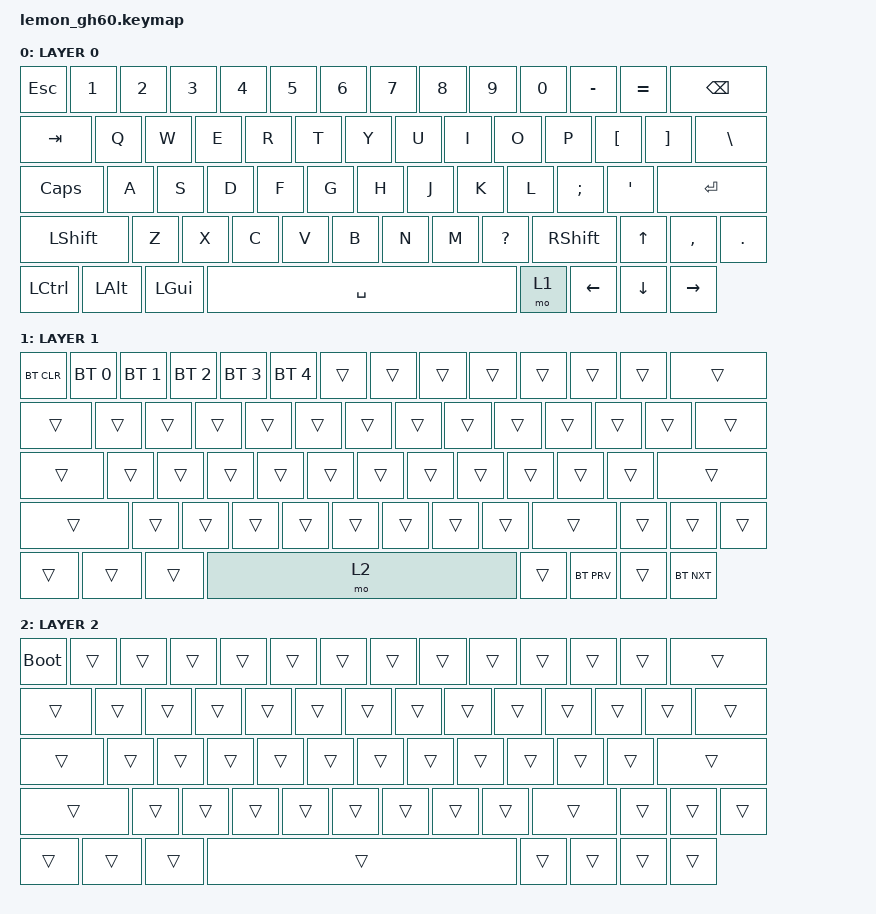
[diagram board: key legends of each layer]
/*
 * Copyright (c) 2020 The ZMK Contributors
 *
 * SPDX-License-Identifier: MIT
 */

#include <behaviors.dtsi>
#include <dt-bindings/zmk/bt.h>
#include <dt-bindings/zmk/keys.h>

/ {
    keymap {
        compatible = "zmk,keymap";

        LAYER0 {
            bindings = <
&kp ESC    &kp N1    &kp N2    &kp N3  &kp N4  &kp N5     &kp N6  &kp N7  &kp N8        &kp N9  &kp N0     &kp MINUS  &kp EQUAL  &kp BSPC
&kp TAB    &kp Q     &kp W     &kp E   &kp R   &kp T      &kp Y   &kp U   &kp I         &kp O   &kp P      &kp LBKT   &kp RBKT   &kp BSLH
&kp CAPS   &kp A     &kp S     &kp D   &kp F   &kp G      &kp H   &kp J   &kp K         &kp L   &kp SEMI   &kp APOS              &kp ENTER
&kp LSHFT  &kp Z     &kp X     &kp C   &kp V   &kp B      &kp N   &kp M   &kp QUESTION          &kp RSHFT  &kp UP     &kp COMMA  &kp PERIOD
&kp LCTRL  &kp LALT  &kp LGUI                  &kp SPACE                                &mo 1   &kp LEFT   &kp DOWN   &kp RIGHT
            >;

            display-name = "LAYER 0";
        };

        LAYER1 {
            bindings = <
&bt BT_CLR  &bt BT_SEL 0  &bt BT_SEL 1  &bt BT_SEL 2  &bt BT_SEL 3  &bt BT_SEL 4  &trans  &trans  &trans  &trans  &trans      &trans  &trans      &trans
&trans      &trans        &trans        &trans        &trans        &trans        &trans  &trans  &trans  &trans  &trans      &trans  &trans      &trans
&trans      &trans        &trans        &trans        &trans        &trans        &trans  &trans  &trans  &trans  &trans      &trans              &trans
&trans      &trans        &trans        &trans        &trans        &trans        &trans  &trans  &trans          &trans      &trans  &trans      &trans
&trans      &trans        &trans                                    &mo 2                                 &trans  &bt BT_PRV  &trans  &bt BT_NXT
            >;

            display-name = "LAYER 1";
        };

        LAYER2 {
            bindings = <
&bootloader  &trans  &trans  &trans  &trans  &trans  &trans  &trans  &trans  &trans  &trans  &trans  &trans  &trans
&trans       &trans  &trans  &trans  &trans  &trans  &trans  &trans  &trans  &trans  &trans  &trans  &trans  &trans
&trans       &trans  &trans  &trans  &trans  &trans  &trans  &trans  &trans  &trans  &trans  &trans          &trans
&trans       &trans  &trans  &trans  &trans  &trans  &trans  &trans  &trans          &trans  &trans  &trans  &trans
&trans       &trans  &trans                  &trans                          &trans  &trans  &trans  &trans
            >;

            display-name = "LAYER 2";
        };

        extra1 {
            status = "reserved";
            display-name = "LAYER 3";
        };

        extra2 {
            status = "reserved";
            display-name = "LAYER 4";
        };

        extra3 {
            status = "reserved";
            display-name = "LAYER 5";
        };

        extra4 {
            status = "reserved";
            display-name = "LAYER 6";
        };
    };
};
